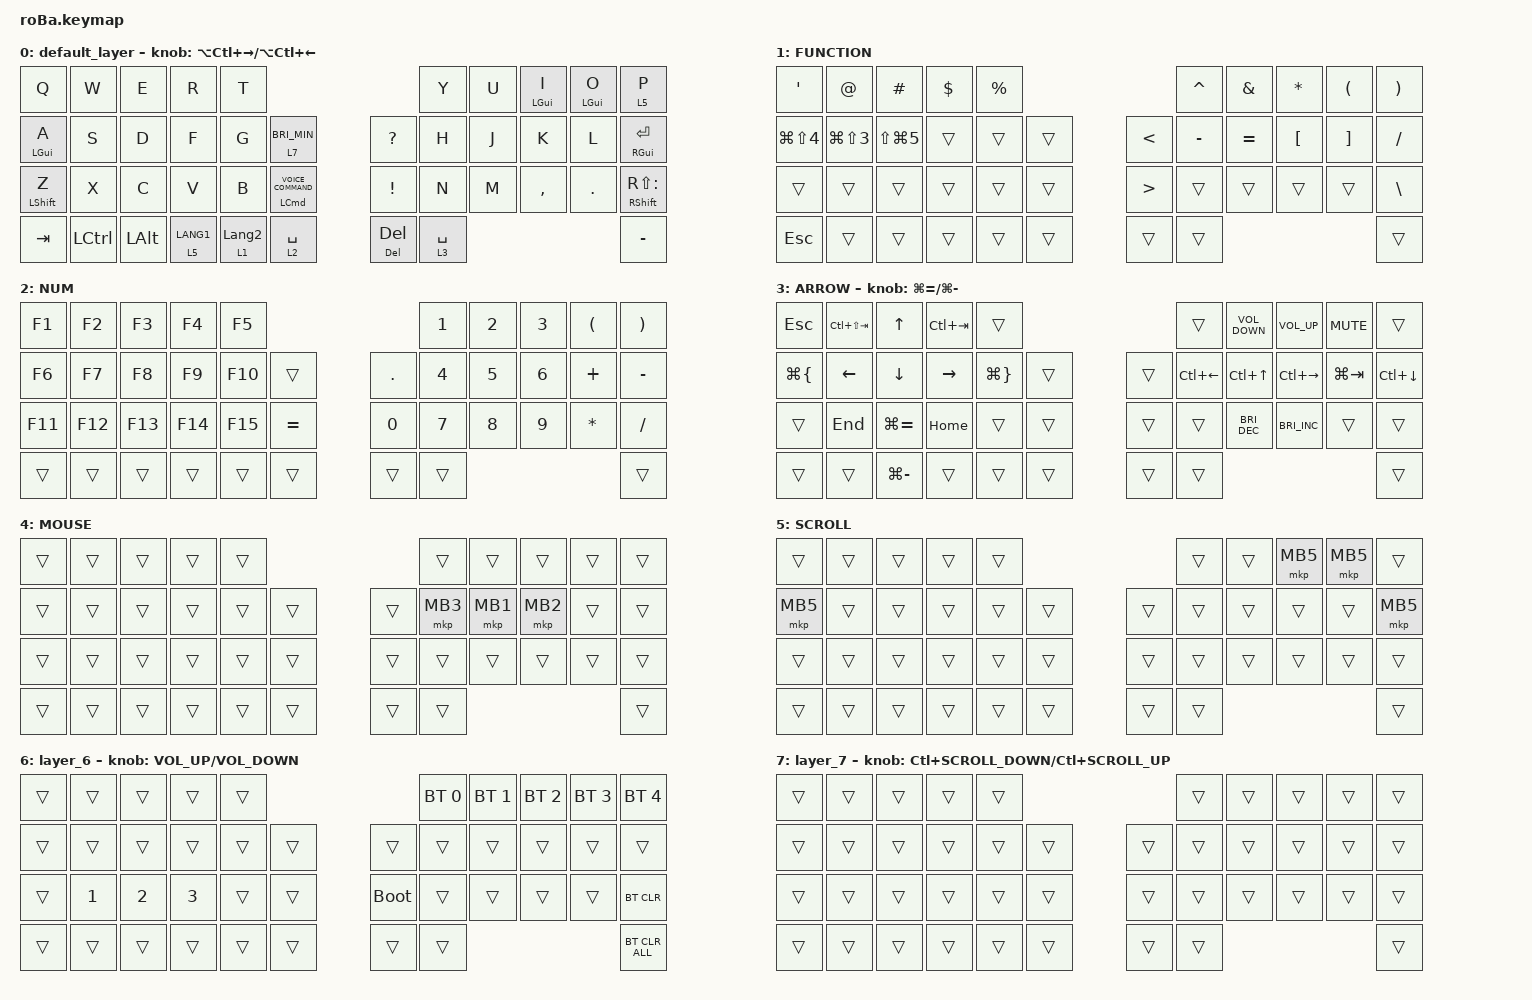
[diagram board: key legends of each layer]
#include <behaviors.dtsi>
#include <dt-bindings/zmk/bt.h>
#include <dt-bindings/zmk/keys.h>
#include <dt-bindings/zmk/pointing.h>

&mt {
    flavor = "balanced";
    quick-tap-ms = <0>;
};

&trackball {
    automouse-layer = <4>;
    scroll-layers = <5>;

    // arrows {
    //     layers = <3>;
    //     bindings =
    //         <&kp RIGHT_ARROW>,
    //         <&kp LEFT_ARROW>,
    //         <&kp UP_ARROW>,
    //         <&kp DOWN_ARROW>;
    //     tick = <10>;
    //     wait-ms = <5>;
    //     tap-ms = <5>;
    // };
};

/ {
    combos {
        compatible = "zmk,combos";

        tab {
            bindings = <&kp TAB>;
            key-positions = <11 12>;
        };

        shift_tab {
            bindings = <&kp LS(TAB)>;
            key-positions = <12 13>;
        };

        muhennkann {
            bindings = <&to_layer_0 INT_MUHENKAN>;
            key-positions = <11 10>;
        };

        double_quotation {
            bindings = <&kp DOUBLE_QUOTES>;
            key-positions = <20 21>;
        };

        eq {
            bindings = <&kp EQUAL>;
            key-positions = <24 25>;
        };
    };

    macros {
        to_layer_0: to_layer_0 {
            compatible = "zmk,behavior-macro-one-param";
            #binding-cells = <1>;
            bindings = <&to 0 &macro_param_1to1 &kp MACRO_PLACEHOLDER>;
            label = "TO_LAYER_0";
        };
    };

    behaviors {
        lt_to_layer_0: lt_to_layer_0 {
            compatible = "zmk,behavior-hold-tap";
            label = "LAYER_TAP_TO_0";
            bindings = <&mo>, <&to_layer_0>;

            #binding-cells = <2>;
            tapping-term-ms = <200>;
        };
    };

    keymap {
        compatible = "zmk,keymap";

        default_layer {
            bindings = <
&kp Q             &kp W      &kp E         &kp R        &kp T                                                                      &kp Y        &kp U  &mt LEFT_GUI I  &mt LEFT_GUI O  &lt 5 P
&mt LEFT_GUI A    &kp S      &kp D         &kp F        &kp G             &lt 7 C_BRI_MIN                       &kp QUESTION       &kp H        &kp J  &kp K           &kp L           &mt RIGHT_GUI ENTER
&mt LEFT_SHIFT Z  &kp X      &kp C         &kp V        &kp B             &mt LEFT_COMMAND C_VOICE_COMMAND      &kp EXCLAMATION    &kp N        &kp M  &kp COMMA       &kp DOT         &mt RIGHT_SHIFT RS(COLON)
&kp TAB           &kp LCTRL  &kp LEFT_ALT  &lt 5 LANG1  &lt 1 LANGUAGE_2  &lt_to_layer_0 2 SPACE                &mt DELETE DELETE  &lt 3 SPACE                                         &kp MINUS
            >;

            sensor-bindings = <&inc_dec_kp LA(LC(RIGHT_ARROW)) LA(LC(LEFT_ARROW))>;
        };

        FUNCTION {
            bindings = <
&kp SINGLE_QUOTE      &kp AT_SIGN           &kp HASH        &kp DOLLAR  &kp PERCENT                                &kp CARET  &kp AMPERSAND  &kp ASTERISK      &kp LEFT_PARENTHESIS  &kp RIGHT_PARENTHESIS
&kp LG(LS(NUMBER_4))  &kp LG(LS(NUMBER_3))  &kp LS(LG(N5))  &trans      &trans       &trans      &kp LESS_THAN     &kp MINUS  &kp EQUAL      &kp LEFT_BRACKET  &kp RIGHT_BRACKET     &kp SLASH
&trans                &trans                &trans          &trans      &trans       &trans      &kp GREATER_THAN  &trans     &trans         &trans            &trans                &kp BACKSLASH
&kp ESCAPE            &trans                &trans          &trans      &trans       &trans      &trans            &trans                                                            &trans
            >;
        };

        NUM {
            bindings = <
&kp F1   &kp F2   &kp F3   &kp F4   &kp F5                                &kp NUMBER_1  &kp NUMBER_2  &kp NUMBER_3  &kp LEFT_PARENTHESIS  &kp RIGHT_PARENTHESIS
&kp F6   &kp F7   &kp F8   &kp F9   &kp F10  &trans         &kp DOT       &kp NUMBER_4  &kp NUMBER_5  &kp NUMBER_6  &kp PLUS              &kp MINUS
&kp F11  &kp F12  &kp F13  &kp F14  &kp F15  &kp EQUAL      &kp NUMBER_0  &kp N7        &kp N8        &kp N9        &kp ASTERISK          &kp SLASH
&trans   &trans   &trans   &trans   &trans   &trans         &trans        &trans                                                          &trans
            >;
        };

        ARROW {
            bindings = <
&kp ESCAPE          &kp LC(LS(TAB))  &kp UP_ARROW    &kp LC(TAB)      &trans                                   &trans        &kp C_VOLUME_DOWN     &kp C_VOLUME_UP  &kp K_MUTE   &trans
&kp LG(LEFT_BRACE)  &kp LEFT_ARROW   &kp DOWN_ARROW  &kp RIGHT_ARROW  &kp LG(RIGHT_BRACE)  &trans      &trans  &kp LC(LEFT)  &kp LC(UP_ARROW)      &kp LC(RIGHT)    &kp LG(TAB)  &kp LC(DOWN)
&trans              &kp END          &kp LG(EQUAL)   &kp HOME         &trans               &trans      &trans  &trans        &kp C_BRIGHTNESS_DEC  &kp C_BRI_INC    &trans       &trans
&trans              &trans           &kp LG(MINUS)   &trans           &trans               &trans      &trans  &trans                                                            &trans
            >;

            sensor-bindings = <&inc_dec_kp LG(EQUAL) LG(MINUS)>;
        };

        MOUSE {
            bindings = <
&trans  &trans  &trans  &trans  &trans                      &trans    &trans    &trans    &trans  &trans
&trans  &trans  &trans  &trans  &trans  &trans      &trans  &mkp MB3  &mkp MB1  &mkp MB2  &trans  &trans
&trans  &trans  &trans  &trans  &trans  &trans      &trans  &trans    &trans    &trans    &trans  &trans
&trans  &trans  &trans  &trans  &trans  &trans      &trans  &trans                                &trans
            >;
        };

        SCROLL {
            bindings = <
&trans    &trans  &trans  &trans  &trans                      &trans  &trans  &mkp MB5  &mkp MB5  &trans
&mkp MB5  &trans  &trans  &trans  &trans  &trans      &trans  &trans  &trans    &trans    &trans    &mkp MB5
&trans    &trans  &trans  &trans  &trans  &trans      &trans  &trans  &trans    &trans    &trans    &trans
&trans    &trans  &trans  &trans  &trans  &trans      &trans  &trans                                &trans
            >;
        };

        layer_6 {
            bindings = <
&trans  &trans        &trans        &trans        &trans                           &bt BT_SEL 0  &bt BT_SEL 1  &bt BT_SEL 2  &bt BT_SEL 3  &bt BT_SEL 4
&trans  &trans        &trans        &trans        &trans  &trans      &trans       &trans        &trans        &trans        &trans        &trans
&trans  &kp NUMBER_1  &kp NUMBER_2  &kp NUMBER_3  &trans  &trans      &bootloader  &trans        &trans        &trans        &trans        &bt BT_CLR
&trans  &trans        &trans        &trans        &trans  &trans      &trans       &trans                                                  &bt BT_CLR_ALL
            >;

            sensor-bindings = <&inc_dec_kp C_VOLUME_UP K_VOLUME_DOWN>;
        };

        layer_7 {
            bindings = <
&trans  &trans  &trans  &trans  &trans                      &trans  &trans  &trans  &trans  &trans
&trans  &trans  &trans  &trans  &trans  &trans      &trans  &trans  &trans  &trans  &trans  &trans
&trans  &trans  &trans  &trans  &trans  &trans      &trans  &trans  &trans  &trans  &trans  &trans
&trans  &trans  &trans  &trans  &trans  &trans      &trans  &trans                          &trans
            >;

            sensor-bindings = <&inc_dec_kp LC(K_SCROLL_DOWN) LC(K_SCROLL_UP)>;
        };
    };
};
